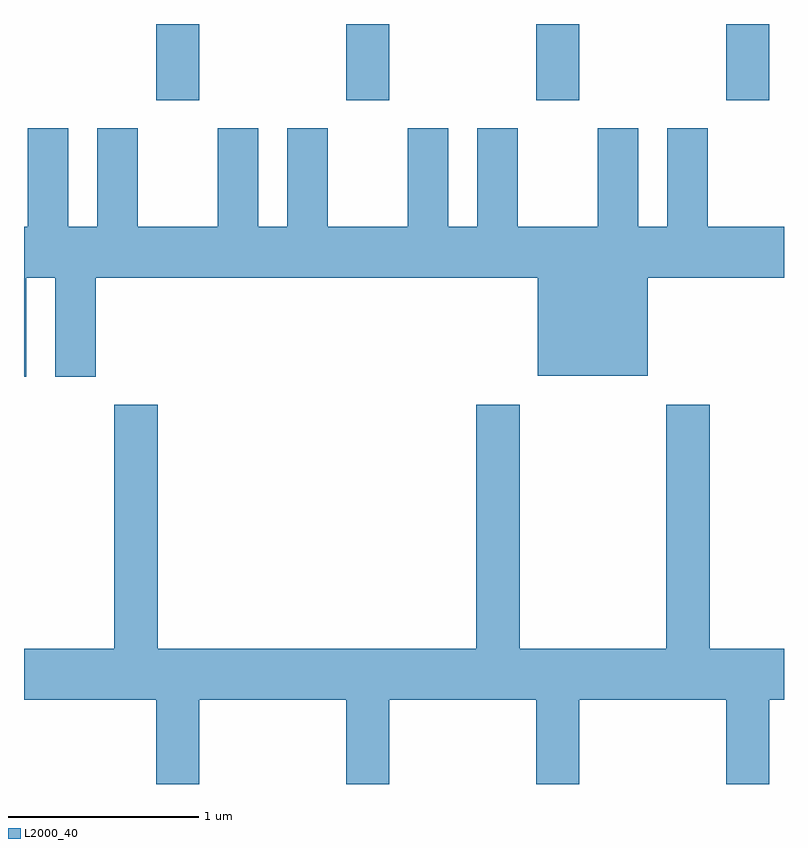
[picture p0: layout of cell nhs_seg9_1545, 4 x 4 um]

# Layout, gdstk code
import gdstk
lib = gdstk.Library(unit=1e-6, precision=1e-09)
def R(c, l, rs):  # rectangles x0, y0, x1, y1
    for r in rs: c.add(gdstk.rectangle(r[:2], r[2:], *l))
def A(c, l, x, y, w, h, nx, ny, dx, dy):  # array of equal rectangles
    R(c, l, [(x+i*dx, y+j*dy, x+i*dx+w, y+j*dy+h) for i in range(nx) for j in range(ny)])
def P(c, l, *ps):  # polygons
    for p in ps: c.add(gdstk.Polygon(p, *l))
L2000_40 = (2000, 40)

nhs_seg9_1545 = lib.new_cell('nhs_seg9_1545')
A(nhs_seg9_1545, L2000_40, 230.306, 2046.031, 0.228, 0.401, 4, 1, 1, 0)
P(nhs_seg9_1545, L2000_40, [(229.624,2045.096),(229.776,2045.096),(229.776,2044.576),(229.989,2044.576),(229.989,2045.096),(232.316,2045.096),(232.316,2044.581),(232.894,2044.581),(232.894,2045.096),(233.611,2045.096),(233.611,2045.364),(233.209,2045.364),(233.209,2045.884),(232.996,2045.884),(232.996,2045.364),(232.844,2045.364),(232.844,2045.884),(232.631,2045.884),(232.631,2045.364),(232.209,2045.364),(232.209,2045.884),(231.996,2045.884),(231.996,2045.364),(231.844,2045.364),(231.844,2045.884),(231.631,2045.884),(231.631,2045.364),(231.209,2045.364),(231.209,2045.884),(230.996,2045.884),(230.996,2045.364),(230.844,2045.364),(230.844,2045.884),(230.631,2045.884),(230.631,2045.364),(230.209,2045.364),(230.209,2045.884),(229.996,2045.884),(229.996,2045.364),(229.844,2045.364),(229.844,2045.884),(229.631,2045.884),(229.631,2045.364),(229.611,2045.364),(229.611,2044.576),(229.624,2044.576)],
  [(232.219,2044.429),(231.991,2044.429),(231.991,2043.144),(230.314,2043.144),(230.314,2044.429),(230.086,2044.429),(230.086,2043.144),(229.611,2043.144),(229.611,2042.876),(230.306,2042.876),(230.306,2042.432),(230.534,2042.432),(230.534,2042.876),(231.306,2042.876),(231.306,2042.432),(231.534,2042.432),(231.534,2042.876),(232.306,2042.876),(232.306,2042.432),(232.534,2042.432),(232.534,2042.876),(233.306,2042.876),(233.306,2042.432),(233.534,2042.432),(233.534,2042.876),(233.611,2042.876),(233.611,2043.144),(233.219,2043.144),(233.219,2044.429),(232.991,2044.429),(232.991,2043.144),(232.219,2043.144)])

lib.write_gds('nhs_seg9_1545.gds')
